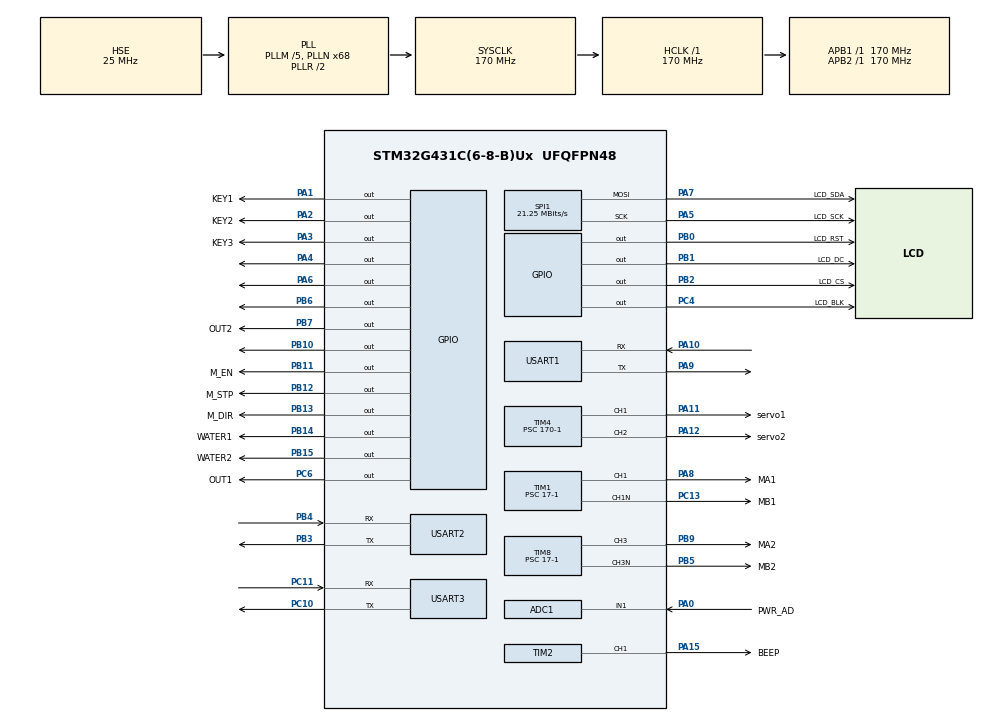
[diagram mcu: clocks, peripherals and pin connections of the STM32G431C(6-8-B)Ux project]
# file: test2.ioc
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ADC1.Channel-0\#ChannelRegularConversion=ADC_CHANNEL_1
ADC1.NbrOfConversionFlag=1
ADC1.OffsetNumber-0\#ChannelRegularConversion=ADC_OFFSET_NONE
ADC1.Rank-0\#ChannelRegularConversion=1
ADC1.SamplingTime-0\#ChannelRegularConversion=ADC_SAMPLETIME_2CYCLES_5
ADC1.master=1
Mcu.Family=STM32G4
Mcu.Name=STM32G431C(6-8-B)Ux
Mcu.Package=UFQFPN48
NVIC.PriorityGroup=NVIC_PRIORITYGROUP_4
NVIC.TIM6_DAC_IRQn=true\:2\:0\:true\:false\:true\:true\:true\:true
NVIC.TIM7_IRQn=true\:1\:0\:true\:false\:true\:true\:true\:true
PA0.GPIO_Label=PWR_AD
PA0.Mode=IN1-Single-Ended
PA0.Signal=ADC1_IN1
PA1.GPIO_Label=KEY1
PA1.GPIO_Speed=GPIO_SPEED_FREQ_HIGH
PA1.Signal=GPIO_Output
PA10.Mode=Asynchronous
PA10.Signal=USART1_RX
PA11.GPIO_Label=servo1
PA11.GPIO_Speed=GPIO_SPEED_FREQ_HIGH
PA11.Signal=S_TIM4_CH1
PA12.GPIO_Label=servo2
PA12.GPIO_Speed=GPIO_SPEED_FREQ_HIGH
PA12.Signal=S_TIM4_CH2
PA13.Mode=Serial_Wire
PA13.Signal=SYS_JTMS-SWDIO
PA14.Mode=Serial_Wire
PA14.Signal=SYS_JTCK-SWCLK
PA15.GPIO_Label=BEEP
PA15.GPIO_Speed=GPIO_SPEED_FREQ_VERY_HIGH
PA15.Signal=S_TIM2_CH1
PA2.GPIO_Label=KEY2
PA2.GPIO_Speed=GPIO_SPEED_FREQ_HIGH
PA2.Signal=GPIO_Output
PA3.GPIO_Label=KEY3
PA3.GPIO_Speed=GPIO_SPEED_FREQ_HIGH
PA3.Signal=GPIO_Output
PA4.Signal=GPIO_Output
PA5.GPIO_Label=LCD_SCK
PA5.GPIO_Speed=GPIO_SPEED_FREQ_VERY_HIGH
PA5.Mode=TX_Only_Simplex_Unidirect_Master
PA5.Signal=SPI1_SCK
PA6.Signal=GPIO_Output
PA7.GPIO_Label=LCD_SDA
PA7.GPIO_Speed=GPIO_SPEED_FREQ_VERY_HIGH
PA7.Mode=TX_Only_Simplex_Unidirect_Master
PA7.Signal=SPI1_MOSI
PA8.GPIO_Label=MA1
PA8.GPIO_Speed=GPIO_SPEED_FREQ_LOW
PA8.Signal=S_TIM1_CH1
PA9.Mode=Asynchronous
PA9.Signal=USART1_TX
PB0.GPIO_Label=LCD_RST
PB0.GPIO_Speed=GPIO_SPEED_FREQ_VERY_HIGH
PB0.PinState=GPIO_PIN_SET
PB0.Signal=GPIO_Output
PB1.GPIO_Label=LCD_DC
PB1.GPIO_Speed=GPIO_SPEED_FREQ_VERY_HIGH
PB1.PinState=GPIO_PIN_SET
PB1.Signal=GPIO_Output
PB10.Signal=GPIO_Output
PB11.GPIO_Label=M_EN
PB11.GPIO_Speed=GPIO_SPEED_FREQ_HIGH
PB11.Signal=GPIO_Output
PB12.GPIO_Label=M_STP
PB12.GPIO_Speed=GPIO_SPEED_FREQ_HIGH
PB12.Signal=GPIO_Output
PB13.GPIO_Label=M_DIR
PB13.GPIO_Speed=GPIO_SPEED_FREQ_HIGH
PB13.Signal=GPIO_Output
PB14.GPIO_Label=WATER1
PB14.GPIO_Speed=GPIO_SPEED_FREQ_HIGH
PB14.Signal=GPIO_Output
PB15.GPIO_Label=WATER2
PB15.GPIO_Speed=GPIO_SPEED_FREQ_HIGH
PB15.Signal=GPIO_Output
PB2.GPIO_Label=LCD_CS
PB2.GPIO_Speed=GPIO_SPEED_FREQ_VERY_HIGH
PB2.PinState=GPIO_PIN_SET
PB2.Signal=GPIO_Output
PB3.Mode=Asynchronous
PB3.Signal=USART2_TX
PB4.Mode=Asynchronous
PB4.Signal=USART2_RX
PB5.GPIO_Label=MB2
PB5.GPIO_Speed=GPIO_SPEED_FREQ_HIGH
PB5.Mode=PWM Generation3 CH3 CH3N
PB5.Signal=TIM8_CH3N
PB6.Signal=GPIO_Output
PB7.GPIO_Label=OUT2
PB7.Signal=GPIO_Output
PB9.GPIO_FM9=__NULL
PB9.GPIO_Label=MA2
PB9.GPIO_Speed=GPIO_SPEED_FREQ_HIGH
PB9.Signal=S_TIM8_CH3
PC10.Mode=Asynchronous
PC10.Signal=USART3_TX
PC11.Mode=Asynchronous
PC11.Signal=USART3_RX
PC13.GPIO_Label=MB1
PC13.GPIO_Speed=GPIO_SPEED_FREQ_LOW
PC13.Mode=PWM Generation1 CH1 CH1N
PC13.Signal=TIM1_CH1N
PC4.GPIO_Label=LCD_BLK
PC4.GPIO_Speed=GPIO_SPEED_FREQ_VERY_HIGH
PC4.PinState=GPIO_PIN_SET
PC4.Signal=GPIO_Output
PC6.GPIO_Label=OUT1
PC6.Signal=GPIO_Output
PF0-OSC_IN.Mode=HSE-External-Oscillator
PF0-OSC_IN.Signal=RCC_OSC_IN
PF1-OSC_OUT.Mode=HSE-External-Oscillator
PF1-OSC_OUT.Signal=RCC_OSC_OUT
ProjectManager.HeapSize=0x200
ProjectManager.StackSize=0x400
ProjectManager.TargetToolchain=MDK-ARM V5.32
RCC.ADC12Freq_Value=170000000
RCC.AHBFreq_Value=170000000
RCC.APB1Freq_Value=170000000
RCC.APB1TimFreq_Value=170000000
RCC.APB2Freq_Value=170000000
RCC.APB2TimFreq_Value=170000000
RCC.CortexFreq_Value=170000000
RCC.EXTERNAL_CLOCK_VALUE=12288000
RCC.HCLKFreq_Value=170000000
RCC.HSE_VALUE=25000000
RCC.HSI48_VALUE=48000000
RCC.HSI_VALUE=16000000
RCC.LSE_VALUE=32768
RCC.PLLM=RCC_PLLM_DIV5
RCC.PLLN=68
RCC.PLLSourceVirtual=RCC_PLLSOURCE_HSE
RCC.SYSCLKFreq_VALUE=170000000
RCC.SYSCLKSource=RCC_SYSCLKSOURCE_PLLCLK
RCC.USBFreq_Value=170000000
RCC.VCOOutputFreq_Value=340000000
SH.S_TIM1_CH1.0=TIM1_CH1,PWM Generation1 CH1 CH1N
SH.S_TIM2_CH1.0=TIM2_CH1,PWM Generation1 CH1
SH.S_TIM4_CH1.0=TIM4_CH1,PWM Generation1 CH1
SH.S_TIM4_CH2.0=TIM4_CH2,PWM Generation2 CH2
SH.S_TIM8_CH3.0=TIM8_CH3,PWM Generation3 CH3 CH3N
SPI1.BaudRatePrescaler=SPI_BAUDRATEPRESCALER_8
SPI1.CLKPhase=SPI_PHASE_2EDGE
SPI1.CLKPolarity=SPI_POLARITY_HIGH
SPI1.CRCCalculation=SPI_CRCCALCULATION_DISABLE
SPI1.CalculateBaudRate=21.25 MBits/s
SPI1.DataSize=SPI_DATASIZE_8BIT
SPI1.Direction=SPI_DIRECTION_2LINES
SPI1.Mode=SPI_MODE_MASTER
SPI1.VirtualType=VM_MASTER
TIM1.AutomaticOutput=TIM_AUTOMATICOUTPUT_ENABLE
TIM1.Channel-PWM\ Generation1\ CH1\ CH1N=TIM_CHANNEL_1
TIM1.DeadTime=0x88
TIM1.DeadTimePreload=ENABLE
TIM1.OffStateIDLEMode=TIM_OSSI_ENABLE
TIM1.OffStateRunMode=TIM_OSSR_ENABLE
TIM1.PeriodNoDither=50-1
TIM1.Prescaler=17-1
TIM1.PulseNoDither_1=25
TIM2.Channel-PWM\ Generation1\ CH1=TIM_CHANNEL_1
TIM2.PeriodNoDither=500-1
TIM2.Prescaler=170-1
TIM4.Channel-PWM\ Generation1\ CH1=TIM_CHANNEL_1
TIM4.Channel-PWM\ Generation2\ CH2=TIM_CHANNEL_2
TIM4.PeriodNoDither=20000-1
TIM4.Prescaler=170-1
TIM6.PeriodNoDither=10000-1
TIM6.Prescaler=170-1
TIM7.PeriodNoDither=10000-1
TIM7.Prescaler=170-1
TIM8.AutomaticOutput=TIM_AUTOMATICOUTPUT_ENABLE
TIM8.Channel-PWM\ Generation3\ CH3\ CH3N=TIM_CHANNEL_3
TIM8.DeadTime=0x88
TIM8.DeadTimePreload=ENABLE
TIM8.OffStateIDLEMode=TIM_OSSI_ENABLE
TIM8.OffStateRunMode=TIM_OSSR_ENABLE
TIM8.PeriodNoDither=50-1
TIM8.Prescaler=17-1
TIM8.PulseNoDither_3=25
USART1.VirtualMode-Asynchronous=VM_ASYNC
USART2.VirtualMode-Asynchronous=VM_ASYNC
USART3.VirtualMode-Asynchronous=VM_ASYNC
VP_SYS_VS_DBSignals.Mode=DisableDeadBatterySignals
VP_TIM1_VS_ClockSourceINT.Mode=Internal
VP_TIM2_VS_ClockSourceINT.Mode=Internal
VP_TIM4_VS_ClockSourceINT.Mode=Internal
VP_TIM6_VS_ClockSourceINT.Mode=Enable_Timer
VP_TIM7_VS_ClockSourceINT.Mode=Enable_Timer
VP_TIM8_VS_ClockSourceINT.Mode=Internal
board=custom

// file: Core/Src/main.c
/* USER CODE BEGIN Header */
/**
  ******************************************************************************
  * @file           : main.c
  * @brief          : Main program body
  ******************************************************************************
  * @attention
  *
  * Copyright (c) 2024 STMicroelectronics.
  * All rights reserved.
  *
  * This software is licensed under terms that can be found in the LICENSE file
  * in the root directory of this software component.
  * If no LICENSE file comes with this software, it is provided AS-IS.
  *
  ******************************************************************************
  */
/* USER CODE END Header */
#include "main.h"
#include "adc.h"
#include "spi.h"
#include "tim.h"
#include "usart.h"
#include "gpio.h"

/* USER CODE BEGIN Includes */
#include <stdio.h>
#include <string.h>

#include "app.h"
/* USER CODE END Includes */

/* USER CODE BEGIN PV */
extern struct keys key[];
/* USER CODE END PV */

void SystemClock_Config(void);

int main(void)
{

  /* MCU Configuration--------------------------------------------------------*/

  /* Reset of all peripherals, Initializes the Flash interface and the Systick. */
  HAL_Init();

  /* Configure the system clock */
  SystemClock_Config();

  /* Initialize all configured peripherals */
  MX_GPIO_Init();
  MX_SPI1_Init();
  MX_TIM1_Init();
  MX_TIM7_Init();
  MX_USART1_UART_Init();
  MX_TIM6_Init();
  MX_ADC1_Init();
  MX_TIM2_Init();
  MX_TIM4_Init();
  MX_TIM8_Init();
  MX_USART2_UART_Init();
  MX_USART3_UART_Init();
  /* USER CODE BEGIN 2 */
	HAL_TIM_Base_Start_IT(&htim1);
	HAL_TIM_Base_Start_IT(&htim6);
	HAL_TIM_Base_Start_IT(&htim7);

	Motor_Init();

//	LCD_Init();
//	LCD_Fill(0, 0, LCD_W, LCD_H, BROWN);
//	LCD_ShowString(36, 36, "Hello", WHITE, BROWN, 16, 0);
//
//	unsigned char rxdata = 0;
//	HAL_UART_Receive_IT(&huart1, &rxdata, 1);
//
//	Water_Status(Water1, Water_RUN);

  /* USER CODE END 2 */

  /* Infinite loop */
  /* USER CODE BEGIN WHILE */
  while (1)
  {
	  Motor_test();

	  if (key[3].s_flag == 1)
	  {
	  	printf("KEY3_S\r\n");
	  	key[3].s_flag =0;
	  }
	  if (key[3].l_flag == 1)
	  {
	  	printf("KEY3_DOWN\r\n");
	  	key[3].l_flag =0;
	  }
	  if (key[2].s_flag == 1)
	  {
	  	printf("KEY2_S\r\n");
	  	key[2].s_flag =0;
	  }
	  if (key[2].l_flag == 1)
	  {
	  	printf("KEY2_DOWN\r\n");
	  	key[2].l_flag =0;
	  }
	  if (key[1].s_flag == 1)
	  {
	  	printf("KEY1_S\r\n");
	  	key[1].s_flag =0;
	  }
	  if (key[1].l_flag == 1)
	  {
	  	printf("KEY1_DOWN\r\n");
	  	key[1].l_flag =0;
	  }
    /* USER CODE END WHILE */

  }
}

void SystemClock_Config(void)
{
  RCC_OscInitTypeDef RCC_OscInitStruct = {0};
  RCC_ClkInitTypeDef RCC_ClkInitStruct = {0};

  /** Configure the main internal regulator output voltage
  */
  HAL_PWREx_ControlVoltageScaling(PWR_REGULATOR_VOLTAGE_SCALE1_BOOST);

  /** Initializes the RCC Oscillators according to the specified parameters
  * in the RCC_OscInitTypeDef structure.
  */
  RCC_OscInitStruct.OscillatorType = RCC_OSCILLATORTYPE_HSE;
  RCC_OscInitStruct.HSEState = RCC_HSE_ON;
  RCC_OscInitStruct.PLL.PLLState = RCC_PLL_ON;
  RCC_OscInitStruct.PLL.PLLSource = RCC_PLLSOURCE_HSE;
  RCC_OscInitStruct.PLL.PLLM = RCC_PLLM_DIV5;
  RCC_OscInitStruct.PLL.PLLN = 68;
  RCC_OscInitStruct.PLL.PLLP = RCC_PLLP_DIV2;
  RCC_OscInitStruct.PLL.PLLQ = RCC_PLLQ_DIV2;
  RCC_OscInitStruct.PLL.PLLR = RCC_PLLR_DIV2;
  if (HAL_RCC_OscConfig(&RCC_OscInitStruct) != HAL_OK)
  {
    Error_Handler();
  }

  /** Initializes the CPU, AHB and APB buses clocks
  */
  RCC_ClkInitStruct.ClockType = RCC_CLOCKTYPE_HCLK|RCC_CLOCKTYPE_SYSCLK
                              |RCC_CLOCKTYPE_PCLK1|RCC_CLOCKTYPE_PCLK2;
  RCC_ClkInitStruct.SYSCLKSource = RCC_SYSCLKSOURCE_PLLCLK;
  RCC_ClkInitStruct.AHBCLKDivider = RCC_SYSCLK_DIV1;
  RCC_ClkInitStruct.APB1CLKDivider = RCC_HCLK_DIV1;
  RCC_ClkInitStruct.APB2CLKDivider = RCC_HCLK_DIV1;

  if (HAL_RCC_ClockConfig(&RCC_ClkInitStruct, FLASH_LATENCY_4) != HAL_OK)
  {
    Error_Handler();
  }
}

void Error_Handler(void)
{
  __disable_irq();
  while (1)
  {
  }
}
